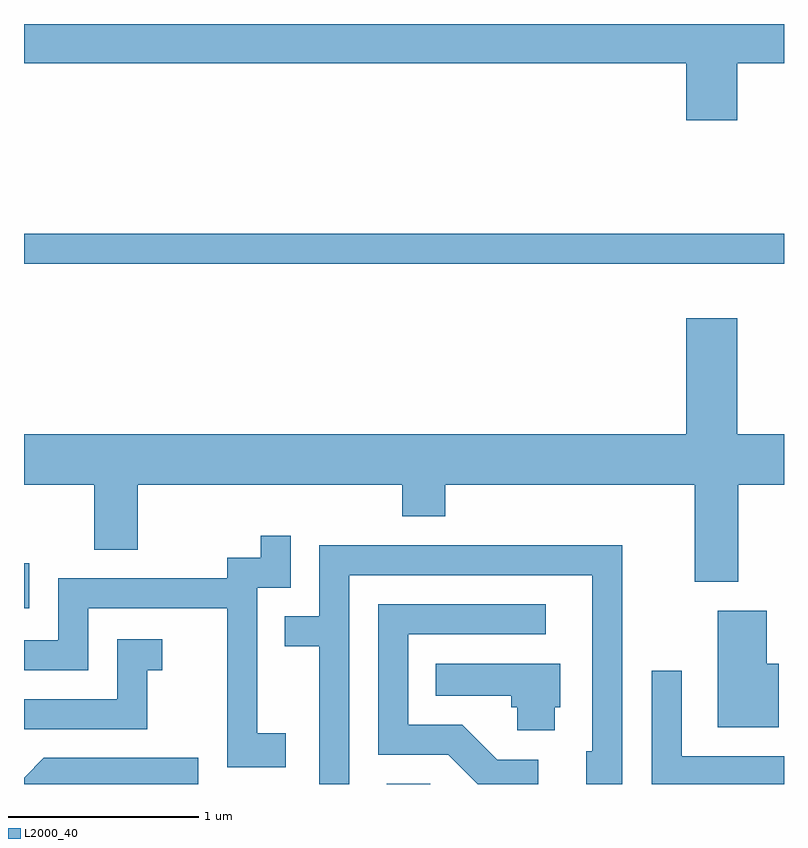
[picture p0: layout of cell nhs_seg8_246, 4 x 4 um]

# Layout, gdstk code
import gdstk
lib = gdstk.Library(unit=1e-6, precision=1e-09)
def R(c, l, rs):  # rectangles x0, y0, x1, y1
    for r in rs: c.add(gdstk.rectangle(r[:2], r[2:], *l))
def P(c, l, *ps):  # polygons
    for p in ps: c.add(gdstk.Polygon(p, *l))
L2000_40 = (2000, 40)

nhs_seg8_246 = lib.new_cell('nhs_seg8_246')
R(nhs_seg8_246, L2000_40, [(193.521,1890.342,193.749,1890.344), (191.611,1891.266,191.639,1891.503), (191.611,1893.081,195.611,1893.239)])
P(nhs_seg8_246, L2000_40, [(195.364,1894.136),(195.611,1894.136),(195.611,1894.342),(191.611,1894.342),(191.611,1894.136),(195.096,1894.136),(195.096,1893.836),(195.364,1893.836)],
  [(195.369,1891.916),(195.611,1891.916),(195.611,1892.184),(195.364,1892.184),(195.364,1892.794),(195.096,1892.794),(195.096,1892.184),(191.611,1892.184),(191.611,1891.916),(191.981,1891.916),(191.981,1891.576),(192.209,1891.576),(192.209,1891.916),(193.601,1891.916),(193.601,1891.751),(193.829,1891.751),(193.829,1891.916),(195.141,1891.916),(195.141,1891.406),(195.369,1891.406)],
  [(192.989,1890.609),(192.839,1890.609),(192.839,1891.376),(193.014,1891.376),(193.014,1891.648),(192.856,1891.648),(192.856,1891.534),(192.681,1891.534),(192.681,1891.424),(191.791,1891.424),(191.791,1891.099),(191.611,1891.099),(191.611,1890.941),(191.949,1890.941),(191.949,1891.266),(192.681,1891.266),(192.681,1890.431),(192.989,1890.431)],
  [(193.324,1891.441),(194.601,1891.441),(194.601,1890.514),(194.571,1890.514),(194.571,1890.342),(194.759,1890.342),(194.759,1891.599),(193.166,1891.599),(193.166,1891.224),(192.983,1891.224),(192.983,1891.066),(193.166,1891.066),(193.166,1890.342),(193.324,1890.342)],
  [(194.318,1890.469),(194.102,1890.469),(193.917,1890.654),(193.634,1890.654),(193.634,1891.131),(194.358,1891.131),(194.358,1891.289),(193.476,1891.289),(193.476,1890.496),(193.844,1890.496),(193.998,1890.342),(194.318,1890.342)],
  [(195.584,1890.974),(195.519,1890.974),(195.519,1891.254),(195.261,1891.254),(195.261,1890.641),(195.584,1890.641)],
  [(192.259,1890.941),(192.338,1890.941),(192.338,1891.104),(192.101,1891.104),(192.101,1890.789),(191.611,1890.789),(191.611,1890.631),(192.259,1890.631)],
  [(194.404,1890.746),(194.434,1890.746),(194.434,1890.974),(193.778,1890.974),(193.778,1890.806),(194.176,1890.806),(194.176,1890.746),(194.206,1890.746),(194.206,1890.626),(194.404,1890.626)],
  [(195.611,1890.489),(195.074,1890.489),(195.074,1890.938),(194.916,1890.938),(194.916,1890.342),(195.611,1890.342)],
  [(192.529,1890.479),(191.714,1890.479),(191.611,1890.376),(191.611,1890.342),(192.529,1890.342)])

lib.write_gds('nhs_seg8_246.gds')
